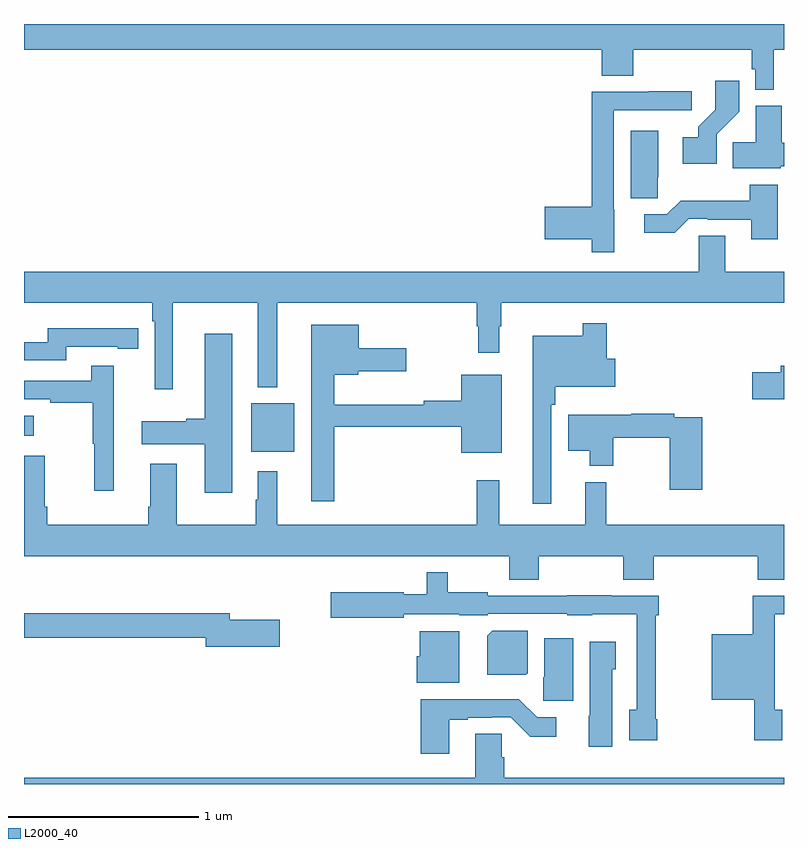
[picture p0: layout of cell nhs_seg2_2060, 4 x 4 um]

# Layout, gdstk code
import gdstk
lib = gdstk.Library(unit=1e-6, precision=1e-09)
def R(c, l, rs):  # rectangles x0, y0, x1, y1
    for r in rs: c.add(gdstk.rectangle(r[:2], r[2:], *l))
def P(c, l, *ps):  # polygons
    for p in ps: c.add(gdstk.Polygon(p, *l))
L2000_40 = (2000, 40)

nhs_seg2_2060 = lib.new_cell('nhs_seg2_2060')
R(nhs_seg2_2060, L2000_40, [(220.196,617.549,220.423,617.803), (219,617.633,219.052,617.737)])
P(nhs_seg2_2060, L2000_40, [(222.946,619.664),(223,619.664),(223,619.8),(219,619.8),(219,619.664),(222.041,619.664),(222.041,619.528),(222.206,619.528),(222.206,619.664),(222.829,619.664),(222.829,619.563),(222.849,619.563),(222.849,619.454),(222.946,619.454)],
  [(222.645,619.219),(222.764,619.338),(222.764,619.501),(222.639,619.501),(222.639,619.349),(222.548,619.259),(222.548,619.204),(222.468,619.204),(222.468,619.064),(222.645,619.064)],
  [(222.106,618.822),(222.105,618.822),(222.105,619.347),(222.514,619.347),(222.514,619.446),(222.289,619.446),(222.289,619.443),(221.989,619.443),(221.989,618.839),(221.742,618.839),(221.742,618.668),(221.989,618.668),(221.989,618.6),(222.106,618.6)],
  [(222.984,619.052),(223,619.052),(223,619.174),(222.988,619.174),(222.988,619.369),(222.851,619.369),(222.851,619.178),(222.73,619.178),(222.73,619.04),(222.984,619.04)],
  [(222.336,618.994),(222.337,618.994),(222.337,619.237),(222.194,619.237),(222.194,618.883),(222.336,618.883)],
  [(222.967,618.955),(222.82,618.955),(222.82,618.871),(222.457,618.871),(222.384,618.798),(222.264,618.798),(222.264,618.701),(222.425,618.701),(222.498,618.774),(222.598,618.774),(222.598,618.771),(222.827,618.771),(222.827,618.666),(222.967,618.666)],
  [(219,618.332),(219.674,618.332),(219.674,618.236),(219.687,618.236),(219.687,617.877),(219.784,617.877),(219.784,618.332),(220.229,618.332),(220.229,617.888),(220.333,617.888),(220.333,618.332),(221.383,618.332),(221.383,618.209),(221.391,618.209),(221.391,618.069),(221.5,618.069),(221.5,618.209),(221.512,618.209),(221.512,618.332),(223,618.332),(223,618.496),(222.691,618.496),(222.691,618.686),(222.552,618.686),(222.552,618.496),(219,618.496)],
  [(221.775,617.795),(221.795,617.795),(221.795,617.891),(222.112,617.891),(222.112,618.039),(222.068,618.039),(222.068,618.226),(221.94,618.226),(221.94,618.16),(221.678,618.16),(221.678,617.274),(221.775,617.274)],
  [(220.633,617.68),(221.3,617.68),(221.3,617.543),(221.515,617.543),(221.515,617.953),(221.3,617.953),(221.3,617.816),(221.104,617.816),(221.104,617.797),(220.633,617.797),(220.633,617.954),(220.758,617.954),(220.758,617.972),(221.011,617.972),(221.011,618.094),(220.762,618.094),(220.762,618.217),(220.511,618.217),(220.511,617.289),(220.633,617.289)],
  [(219.222,618.102),(219.494,618.102),(219.494,618.09),(219.602,618.09),(219.602,618.198),(219.494,618.198),(219.494,618.199),(219.126,618.199),(219.126,618.126),(219,618.126),(219,618.03),(219.222,618.03)],
  [(220.096,618.169),(219.95,618.169),(219.95,617.723),(219.854,617.723),(219.854,617.71),(219.621,617.71),(219.621,617.588),(219.95,617.588),(219.95,617.334),(220.096,617.334)],
  [(219.472,618.001),(219.355,618.001),(219.355,617.922),(219,617.922),(219,617.826),(219.139,617.826),(219.139,617.806),(219.363,617.806),(219.363,617.592),(219.37,617.592),(219.37,617.343),(219.472,617.343)],
  [(223,618.001),(222.983,618.001),(222.983,617.967),(222.834,617.967),(222.834,617.825),(223,617.825)],
  [(222.569,617.73),(222.422,617.73),(222.422,617.75),(222.196,617.75),(222.196,617.743),(221.864,617.743),(221.864,617.555),(221.978,617.555),(221.978,617.474),(222.1,617.474),(222.1,617.622),(222.398,617.622),(222.398,617.349),(222.569,617.349)],
  [(221.709,617),(222.154,617),(222.154,616.876),(222.314,616.876),(222.314,617),(222.863,617),(222.863,616.876),(223,616.876),(223,617.164),(222.064,617.164),(222.064,617.389),(221.954,617.389),(221.954,617.164),(221.501,617.164),(221.501,617.398),(221.383,617.398),(221.383,617.164),(220.333,617.164),(220.333,617.446),(220.229,617.446),(220.229,617.297),(220.219,617.297),(220.219,617.164),(219.805,617.164),(219.805,617.485),(219.665,617.485),(219.665,617.26),(219.653,617.26),(219.653,617.164),(219.122,617.164),(219.122,617.26),(219.109,617.26),(219.109,617.527),(219,617.527),(219,617),(221.554,617),(221.554,616.876),(221.709,616.876)],
  [(222.334,616.141),(222.326,616.141),(222.326,616.688),(222.341,616.688),(222.341,616.791),(222.091,616.791),(222.091,616.793),(221.859,616.793),(221.859,616.791),(221.442,616.791),(221.442,616.81),(221.23,616.81),(221.23,616.915),(221.121,616.915),(221.121,616.799),(220.998,616.799),(220.998,616.81),(220.614,616.81),(220.614,616.676),(220.998,616.676),(220.998,616.694),(221.292,616.694),(221.292,616.688),(221.442,616.688),(221.442,616.695),(221.859,616.695),(221.859,616.688),(221.991,616.688),(221.991,616.694),(222.225,616.694),(222.225,616.19),(222.185,616.19),(222.185,616.029),(222.334,616.029)],
  [(222.991,616.19),(222.951,616.19),(222.951,616.694),(223,616.694),(223,616.791),(222.835,616.791),(222.835,616.588),(222.62,616.588),(222.62,616.244),(222.843,616.244),(222.843,616.029),(222.991,616.029)],
  [(220.345,616.665),(220.084,616.665),(220.084,616.699),(219,616.699),(219,616.57),(219.956,616.57),(219.956,616.523),(220.345,616.523)],
  [(221.65,616.384),(221.65,616.606),(221.464,616.606),(221.438,616.58),(221.438,616.376),(221.642,616.376)],
  [(221.29,616.604),(221.084,616.604),(221.084,616.473),(221.066,616.473),(221.066,616.334),(221.29,616.334)],
  [(221.89,616.567),(221.738,616.567),(221.738,616.362),(221.734,616.362),(221.734,616.239),(221.89,616.239)],
  [(222.097,616.404),(222.115,616.404),(222.115,616.549),(221.978,616.549),(221.978,616.158),(221.972,616.158),(221.972,615.996),(222.097,615.996)],
  [(221.239,616.137),(221.335,616.137),(221.335,616.149),(221.462,616.149),(221.462,616.152),(221.562,616.152),(221.665,616.05),(221.8,616.05),(221.8,616.152),(221.7,616.152),(221.605,616.247),(221.087,616.247),(221.087,615.96),(221.239,615.96)],
  [(223,615.832),(221.528,615.832),(221.528,615.942),(221.514,615.942),(221.514,616.064),(221.375,616.064),(221.375,615.832),(219,615.832),(219,615.8),(223,615.8)])

lib.write_gds('nhs_seg2_2060.gds')
